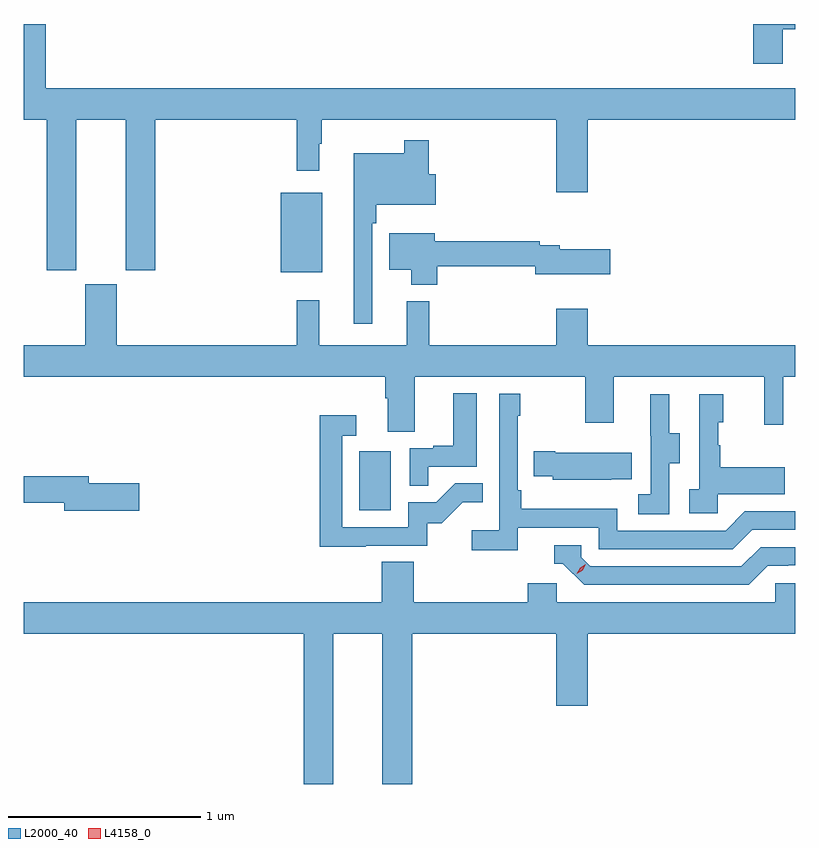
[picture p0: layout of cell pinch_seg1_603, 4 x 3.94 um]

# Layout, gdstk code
import gdstk
lib = gdstk.Library(unit=1e-6, precision=1e-09)
def R(c, l, rs):  # rectangles x0, y0, x1, y1
    for r in rs: c.add(gdstk.rectangle(r[:2], r[2:], *l))
def P(c, l, *ps):  # polygons
    for p in ps: c.add(gdstk.Polygon(p, *l))
L2000_40 = (2000, 40)
L4158_0 = (4158, 0)

pinch_seg1_603 = lib.new_cell('pinch_seg1_603')
R(pinch_seg1_603, L2000_40, [(1111.04,512.412,1111.204,512.719), (1110.632,513.647,1110.847,514.057)])
P(pinch_seg1_603, L2000_40, [(1113.235,514.905),(1113.3,514.905),(1113.3,514.933),(1113.083,514.933),(1113.083,514.728),(1113.235,514.728)],
  [(1109.413,514.933),(1109.3,514.933),(1109.3,514.436),(1109.42,514.436),(1109.42,513.657),(1109.572,513.657),(1109.572,514.436),(1109.828,514.436),(1109.828,513.657),(1109.981,513.657),(1109.981,514.436),(1110.715,514.436),(1110.715,514.173),(1110.832,514.173),(1110.832,514.313),(1110.844,514.313),(1110.844,514.436),(1112.06,514.436),(1112.06,514.062),(1112.224,514.062),(1112.224,514.436),(1113.3,514.436),(1113.3,514.6),(1109.413,514.6)],
  [(1111.107,513.899),(1111.127,513.899),(1111.127,513.995),(1111.435,513.995),(1111.435,514.153),(1111.4,514.153),(1111.4,514.33),(1111.272,514.33),(1111.272,514.264),(1111.01,514.264),(1111.01,513.378),(1111.107,513.378)],
  [(1111.445,513.678),(1111.952,513.678),(1111.952,513.635),(1112.341,513.635),(1112.341,513.765),(1112.08,513.765),(1112.08,513.786),(1111.976,513.786),(1111.976,513.806),(1111.432,513.806),(1111.432,513.847),(1111.196,513.847),(1111.196,513.659),(1111.31,513.659),(1111.31,513.581),(1111.445,513.581)],
  [(1111.327,513.104),(1112.212,513.104),(1112.212,512.865),(1112.359,512.865),(1112.359,513.104),(1113.14,513.104),(1113.14,512.856),(1113.237,512.856),(1113.237,513.104),(1113.3,513.104),(1113.3,513.268),(1112.224,513.268),(1112.224,513.457),(1112.06,513.457),(1112.06,513.268),(1111.403,513.268),(1111.403,513.496),(1111.286,513.496),(1111.286,513.268),(1110.833,513.268),(1110.833,513.502),(1110.715,513.502),(1110.715,513.268),(1109.782,513.268),(1109.782,513.585),(1109.618,513.585),(1109.618,513.268),(1109.3,513.268),(1109.3,513.104),(1111.175,513.104),(1111.175,512.992),(1111.187,512.992),(1111.187,512.818),(1111.327,512.818)],
  [(1111.397,512.637),(1111.648,512.637),(1111.648,513.019),(1111.526,513.019),(1111.526,512.746),(1111.423,512.746),(1111.423,512.733),(1111.302,512.733),(1111.302,512.539),(1111.397,512.539)],
  [(1111.862,512.322),(1112.28,512.322),(1112.28,512.211),(1112.977,512.211),(1113.076,512.31),(1113.3,512.31),(1113.3,512.406),(1113.039,512.406),(1112.94,512.307),(1112.376,512.307),(1112.376,512.419),(1111.88,512.419),(1111.88,512.515),(1111.86,512.515),(1111.86,512.903),(1111.873,512.903),(1111.873,513.016),(1111.764,513.016),(1111.764,512.308),(1111.623,512.308),(1111.623,512.206),(1111.862,512.206)],
  [(1112.898,512.495),(1113.245,512.495),(1113.245,512.635),(1112.911,512.635),(1112.911,512.75),(1112.901,512.75),(1112.901,512.868),(1112.926,512.868),(1112.926,513.013),(1112.802,513.013),(1112.802,512.522),(1112.751,512.522),(1112.751,512.397),(1112.898,512.397)],
  [(1112.646,512.656),(1112.701,512.656),(1112.701,512.811),(1112.647,512.811),(1112.647,513.013),(1112.549,513.013),(1112.549,512.799),(1112.55,512.799),(1112.55,512.495),(1112.487,512.495),(1112.487,512.392),(1112.646,512.392)],
  [(1111.073,512.229),(1111.392,512.229),(1111.392,512.346),(1111.468,512.346),(1111.575,512.453),(1111.679,512.453),(1111.679,512.552),(1111.536,512.552),(1111.438,512.454),(1111.293,512.454),(1111.293,512.325),(1110.951,512.325),(1110.951,512.799),(1111.024,512.799),(1111.024,512.905),(1110.835,512.905),(1110.835,512.224),(1111.073,512.224)],
  [(1112.345,512.573),(1112.453,512.573),(1112.453,512.71),(1112.056,512.71),(1112.056,512.718),(1111.945,512.718),(1111.945,512.588),(1112.043,512.588),(1112.043,512.57),(1112.345,512.57)],
  [(1109.899,512.552),(1109.638,512.552),(1109.638,512.588),(1109.3,512.588),(1109.3,512.452),(1109.51,512.452),(1109.51,512.41),(1109.899,512.41)],
  [(1113.157,512.124),(1113.264,512.124),(1113.264,512.127),(1113.3,512.127),(1113.3,512.22),(1113.12,512.22),(1113.021,512.121),(1112.238,512.121),(1112.19,512.169),(1112.19,512.232),(1112.051,512.232),(1112.051,512.136),(1112.094,512.136),(1112.205,512.025),(1113.058,512.025)],
  [(1112.06,511.398),(1112.224,511.398),(1112.224,511.772),(1113.3,511.772),(1113.3,512.034),(1113.195,512.034),(1113.195,511.936),(1112.064,511.936),(1112.064,512.034),(1111.913,512.034),(1111.913,511.936),(1111.322,511.936),(1111.322,512.144),(1111.157,512.144),(1111.157,511.936),(1109.3,511.936),(1109.3,511.772),(1110.752,511.772),(1110.752,510.993),(1110.904,510.993),(1110.904,511.772),(1111.16,511.772),(1111.16,510.993),(1111.313,510.993),(1111.313,511.772),(1112.06,511.772)])
P(pinch_seg1_603, L4158_0, [(1112.168,512.082),(1112.168,512.082),(1112.184,512.114),(1112.214,512.133),(1112.215,512.133),(1112.215,512.133),(1112.199,512.101),(1112.168,512.082)])

lib.write_gds('pinch_seg1_603.gds')
